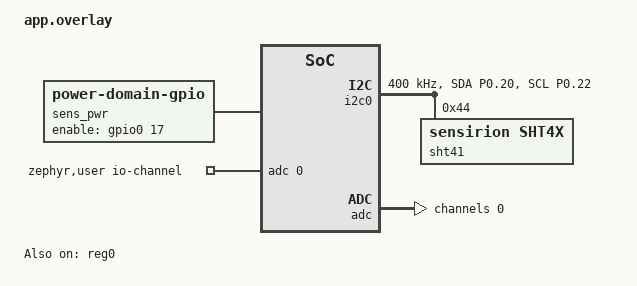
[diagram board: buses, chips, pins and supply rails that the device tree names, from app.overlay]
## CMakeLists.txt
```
cmake_minimum_required(VERSION 3.20.0)
find_package(Zephyr REQUIRED HINTS $ENV{ZEPHYR_BASE})
project(nRF52840-SHT41-BTHome-NCS)
target_sources(app PRIVATE src/main.c)
```

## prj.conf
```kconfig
# Bluetooth: advertising only
CONFIG_BT=y
CONFIG_BT_BROADCASTER=y
CONFIG_BT_DEVICE_NAME="SHT41"
CONFIG_BT_CTLR_TX_PWR_0=y

# Drivers
CONFIG_I2C=y
CONFIG_SENSOR=y
CONFIG_ADC=y

# Power management: sensor + I2C bus powered only while in use
CONFIG_PM_DEVICE=y
CONFIG_PM_DEVICE_RUNTIME=y
CONFIG_POWER_DOMAIN=y

# Board enables USB serial console by default: turn it all off
CONFIG_USB_DEVICE_STACK_NEXT=n
CONFIG_SERIAL=n
CONFIG_CONSOLE=n
CONFIG_UART_CONSOLE=n
CONFIG_LOG=n
```

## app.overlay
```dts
/* Pro Micro nRF52840 (nice!nano v2 compatible) + Adafruit SHT41 on a gated supply */
#include <zephyr/dt-bindings/adc/adc.h>
#include <zephyr/dt-bindings/adc/nrf-saadc.h>
#include <zephyr/dt-bindings/gpio/nordic-nrf-gpio.h>

/ {
	/* P0.17 powers the SHT41: switched on only while the sensor is in use */
	sens_pwr: sensor-power {
		compatible = "power-domain-gpio";
		enable-gpios = <&gpio0 17 (GPIO_ACTIVE_HIGH | NRF_GPIO_DRIVE_H0H1)>;
		startup-delay-us = <3000>;		/* SHT41 power-up + breakout caps */
		#power-domain-cells = <0>;
		zephyr,pm-device-runtime-auto;
	};

	zephyr,user {
		io-channels = <&adc 0>;
	};
};

/* DC/DC on REG0 (VDDH -> VDD) and REG1 (VDD -> core) */
&reg0 {
	status = "okay";
};

&reg1 {
	regulator-initial-mode = <NRF5X_REG_MODE_DCDC>;
};

/* I2C: SDA P0.20, SCL P0.22. "sleep" state = pins disconnected (no back-feeding) */
&pinctrl {
	sht_i2c_default: sht_i2c_default {
		group1 {
			psels = <NRF_PSEL(TWIM_SDA, 0, 20)>, <NRF_PSEL(TWIM_SCL, 0, 22)>;
			bias-pull-up;
		};
	};

	sht_i2c_sleep: sht_i2c_sleep {
		group1 {
			psels = <NRF_PSEL(TWIM_SDA, 0, 20)>, <NRF_PSEL(TWIM_SCL, 0, 22)>;
			low-power-enable;
		};
	};
};

&i2c0 {
	compatible = "nordic,nrf-twim";
	status = "okay";
	clock-frequency = <I2C_BITRATE_FAST>;
	pinctrl-0 = <&sht_i2c_default>;
	pinctrl-1 = <&sht_i2c_sleep>;
	pinctrl-names = "default", "sleep";
	zephyr,pm-device-runtime-auto;		/* bus enabled only during transfers */

	sht41: sht4x@44 {
		compatible = "sensirion,sht4x";
		reg = <0x44>;
		repeatability = <2>;			/* high precision, no heater */
		power-domains = <&sens_pwr>;
		zephyr,pm-device-runtime-auto;
	};
};

/* Battery: VDDH/5, internal 0.6 V ref, gain 1/2 -> 0..1.2 V range */
&adc {
	#address-cells = <1>;
	#size-cells = <0>;
	status = "okay";

	channel@0 {
		reg = <0>;
		zephyr,gain = "ADC_GAIN_1_2";
		zephyr,reference = "ADC_REF_INTERNAL";
		zephyr,acquisition-time = <ADC_ACQ_TIME(ADC_ACQ_TIME_MICROSECONDS, 10)>;
		zephyr,input-positive = <NRF_SAADC_VDDHDIV5>;
		zephyr,resolution = <14>;		/* LSB = 6000 mV / 16384 = 0.37 mV at VDDH */
		zephyr,oversampling = <3>;		/* 2^3 = 8x */
	};
};

/* Unused board peripherals */
&i2c1 { status = "disabled"; };
&spi2 { status = "disabled"; };
&pwm0 { status = "disabled"; };
&uart0 { status = "disabled"; };
&usbd { status = "disabled"; };
```

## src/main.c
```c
/*
 * BTHome v2 temperature / humidity beacon - ultra-low-power (Zephyr)
 *
 * Every 60 s: power up SHT41, measure T/RH, power it down, read VDDH,
 * update a non-connectable BTHome v2 advertisement sent every 10 s.
 * Sensor power gating, I2C pin handling, DC/DC and sleep are all
 * configured in app.overlay / prj.conf.
 */
#include <zephyr/kernel.h>
#include <zephyr/bluetooth/bluetooth.h>
#include <zephyr/drivers/adc.h>
#include <zephyr/drivers/sensor.h>
#include <zephyr/pm/device_runtime.h>
#include <zephyr/sys/byteorder.h>

#define MEAS_INTERVAL K_SECONDS(60)
#define ADV_INTERVAL  16000 /* 10000 ms / 0.625 ms (legacy max is 10.24 s) */
#define VDDH_DIV      5     /* SAADC input is VDDH/5 */

static const struct device *const sht = DEVICE_DT_GET(DT_NODELABEL(sht41));
static const struct adc_dt_spec vbat = ADC_DT_SPEC_GET(DT_PATH(zephyr_user));

/* BTHome v2 service data (objects in ascending ID order: 0x0C, 0x2E, 0x45) */
static uint8_t svc[] = {
	0xD2, 0xFC, /* UUID 0xFCD2 */
	0x40,       /* BTHome v2, unencrypted, regular interval */
	0x0C, 0, 0, /* voltage, 1 mV */
	0x2E, 0,    /* humidity, 1 % */
	0x45, 0, 0, /* temperature, 0.1 degC */
};

static const struct bt_data ad[] = {
	BT_DATA_BYTES(BT_DATA_FLAGS, BT_LE_AD_GENERAL | BT_LE_AD_NO_BREDR),
	BT_DATA(BT_DATA_SVC_DATA16, svc, sizeof(svc)),
	BT_DATA(BT_DATA_NAME_COMPLETE, CONFIG_BT_DEVICE_NAME, sizeof(CONFIG_BT_DEVICE_NAME) - 1),
};

static int read_sht41(void)
{
	struct sensor_value t, rh;
	int err = pm_device_runtime_get(sht); /* sensor power on */

	if (err) {
		return err;
	}
	err = sensor_sample_fetch(sht);
	pm_device_runtime_put(sht);           /* bus high-Z, then sensor power off */
	if (err) {
		return err;
	}

	sensor_channel_get(sht, SENSOR_CHAN_AMBIENT_TEMP, &t);
	sensor_channel_get(sht, SENSOR_CHAN_HUMIDITY, &rh);

	int32_t mc = sensor_value_to_milli(&t);
	int16_t t10 = (mc + (mc < 0 ? -50 : 50)) / 100;
	int32_t pct = (sensor_value_to_milli(&rh) + 500) / 1000;

	sys_put_le16(t10, &svc[9]);
	svc[7] = CLAMP(pct, 0, 100);
	return 0;
}

static void read_battery(void)
{
	static bool calibrated;
	int16_t raw;
	struct adc_sequence seq = {
		.buffer = &raw,
		.buffer_size = sizeof(raw),
		.calibrate = !calibrated,
	};

	adc_sequence_init_dt(&vbat, &seq);
	if (adc_read_dt(&vbat, &seq) == 0) {
		/* Full-scale input voltage: 0.6 V ref / gain 1/2 = 1200 mV */
		int32_t full_mv = adc_ref_internal(vbat.dev);

		adc_gain_invert(vbat.channel_cfg.gain, &full_mv);

		/*
		 * Scale raw straight to VDDH in one step and round to nearest:
		 * VDDH_mV = raw * 1200 * 5 / 2^res. Multiplying by 5 before the
		 * division keeps 1 mV resolution instead of 5 mV steps.
		 * Max 16383 * 1200 * 5 = 98 M, fits in 32 bits.
		 */
		uint32_t num = (uint32_t)MAX(raw, 0) * (uint32_t)full_mv * VDDH_DIV;
		uint32_t mv = (num + BIT(vbat.resolution - 1)) >> vbat.resolution;

		sys_put_le16(mv, &svc[4]);
		calibrated = true;
	}
}

static bool measure(void)
{
	if (read_sht41()) {
		return false;   /* keep advertising last good values */
	}
	read_battery();         /* right after sensor load */
	return true;
}

int main(void)
{
	adc_channel_setup_dt(&vbat);
	bt_enable(NULL);
	measure();              /* advertise even if the first read fails */

	bt_le_adv_start(BT_LE_ADV_PARAM(BT_LE_ADV_OPT_USE_IDENTITY, ADV_INTERVAL,
					ADV_INTERVAL, NULL),
			ad, ARRAY_SIZE(ad), NULL, 0);

	for (;;) {
		k_sleep(MEAS_INTERVAL); /* CPU in System ON idle */
		if (measure()) {
			bt_le_adv_update_data(ad, ARRAY_SIZE(ad), NULL, 0);
		}
	}
}
```
